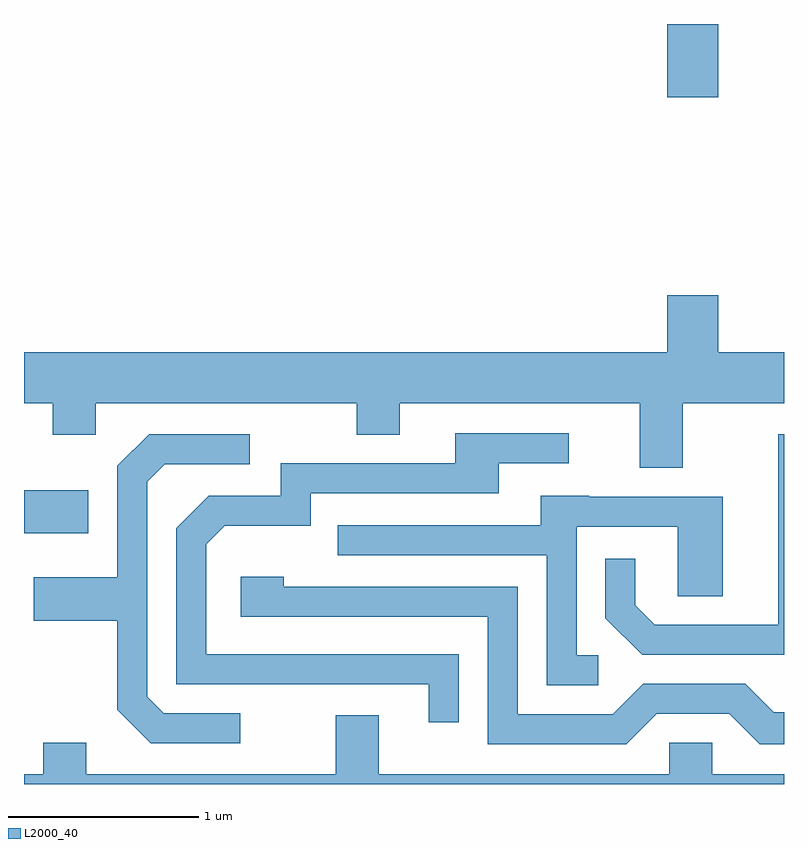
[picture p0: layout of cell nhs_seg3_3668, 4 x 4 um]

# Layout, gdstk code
import gdstk
lib = gdstk.Library(unit=1e-6, precision=1e-09)
def R(c, l, rs):  # rectangles x0, y0, x1, y1
    for r in rs: c.add(gdstk.rectangle(r[:2], r[2:], *l))
def P(c, l, *ps):  # polygons
    for p in ps: c.add(gdstk.Polygon(p, *l))
L2000_40 = (2000, 40)

nhs_seg3_3668 = lib.new_cell('nhs_seg3_3668')
R(nhs_seg3_3668, L2000_40, [(291.611,1245.211,291.949,1245.439), (294.996,1247.506,295.264,1247.892)])
P(nhs_seg3_3668, L2000_40, [(295.079,1245.896),(295.611,1245.896),(295.611,1246.164),(295.264,1246.164),(295.264,1246.464),(294.996,1246.464),(294.996,1246.164),(291.611,1246.164),(291.611,1245.896),(291.761,1245.896),(291.761,1245.731),(291.989,1245.731),(291.989,1245.896),(293.361,1245.896),(293.361,1245.731),(293.589,1245.731),(293.589,1245.896),(294.851,1245.896),(294.851,1245.556),(295.079,1245.556)],
  [(293.899,1244.574),(292.569,1244.574),(292.569,1245.154),(292.667,1245.251),(293.119,1245.251),(293.119,1245.421),(294.109,1245.421),(294.109,1245.581),(294.478,1245.581),(294.478,1245.739),(293.881,1245.739),(293.881,1245.579),(292.961,1245.579),(292.961,1245.409),(292.584,1245.409),(292.411,1245.237),(292.411,1244.416),(293.741,1244.416),(293.741,1244.218),(293.899,1244.218)],
  [(292.748,1244.264),(292.347,1244.264),(292.259,1244.352),(292.259,1245.484),(292.352,1245.576),(292.798,1245.576),(292.798,1245.734),(292.269,1245.734),(292.101,1245.567),(292.101,1244.979),(291.661,1244.979),(291.661,1244.751),(292.101,1244.751),(292.101,1244.284),(292.279,1244.106),(292.748,1244.106)],
  [(295.611,1245.734),(295.581,1245.734),(295.581,1244.729),(294.932,1244.729),(294.829,1244.832),(294.829,1245.078),(294.671,1245.078),(294.671,1244.764),(294.864,1244.571),(295.611,1244.571)],
  [(294.633,1244.569),(294.519,1244.569),(294.519,1245.246),(295.051,1245.246),(295.051,1244.881),(295.289,1244.881),(295.289,1245.404),(294.585,1245.404),(294.585,1245.409),(294.331,1245.409),(294.331,1245.254),(293.263,1245.254),(293.263,1245.096),(294.361,1245.096),(294.361,1244.411),(294.633,1244.411)],
  [(294.942,1244.261),(295.324,1244.261),(295.484,1244.101),(295.611,1244.101),(295.611,1244.269),(295.557,1244.269),(295.407,1244.419),(294.869,1244.419),(294.709,1244.259),(294.209,1244.259),(294.209,1244.929),(292.979,1244.929),(292.979,1244.984),(292.751,1244.984),(292.751,1244.771),(294.051,1244.771),(294.051,1244.101),(294.782,1244.101)],
  [(295.611,1243.944),(295.234,1243.944),(295.234,1244.109),(295.006,1244.109),(295.006,1243.944),(293.479,1243.944),(293.479,1244.254),(293.251,1244.254),(293.251,1243.944),(291.939,1243.944),(291.939,1244.109),(291.711,1244.109),(291.711,1243.944),(291.611,1243.944),(291.611,1243.892),(295.611,1243.892)])

lib.write_gds('nhs_seg3_3668.gds')
